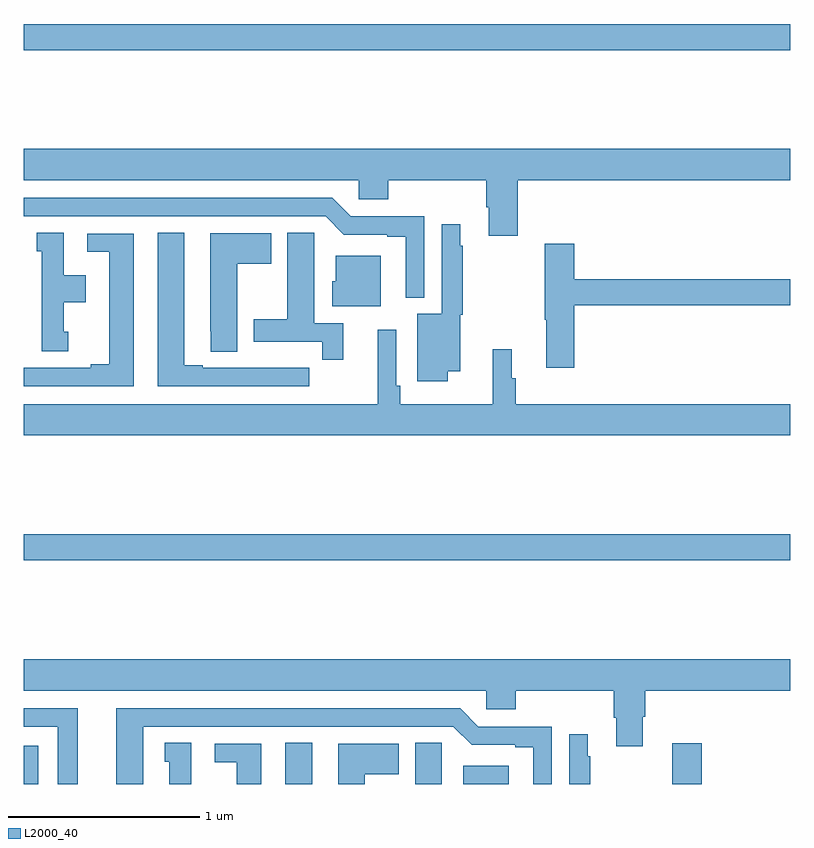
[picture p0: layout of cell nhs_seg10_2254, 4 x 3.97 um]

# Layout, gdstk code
import gdstk
lib = gdstk.Library(unit=1e-6, precision=1e-09)
def R(c, l, rs):  # rectangles x0, y0, x1, y1
    for r in rs: c.add(gdstk.rectangle(r[:2], r[2:], *l))
def P(c, l, *ps):  # polygons
    for p in ps: c.add(gdstk.Polygon(p, *l))
L2000_40 = (2000, 40)

nhs_seg10_2254 = lib.new_cell('nhs_seg10_2254')
R(nhs_seg10_2254, L2000_40, [(231,1294.5,231.076,1294.701), (232.364,1294.5,232.504,1294.715), (233.294,1294.5,233.53,1294.594), (234.385,1294.5,234.539,1294.714), (231,1295.668,235,1295.804), (231,1298.332,235,1298.468)])
P(nhs_seg10_2254, L2000_40, [(233.579,1297.652),(235,1297.652),(235,1297.816),(231,1297.816),(231,1297.652),(232.749,1297.652),(232.749,1297.554),(232.901,1297.554),(232.901,1297.652),(233.414,1297.652),(233.414,1297.51),(233.426,1297.51),(233.426,1297.362),(233.579,1297.362)],
  [(233.091,1297.464),(232.707,1297.464),(232.611,1297.56),(231,1297.56),(231,1297.464),(232.575,1297.464),(232.671,1297.368),(232.898,1297.368),(232.898,1297.356),(232.994,1297.356),(232.994,1297.04),(233.091,1297.04)],
  [(233.212,1296.656),(233.278,1296.656),(233.278,1296.951),(233.29,1296.951),(233.29,1297.31),(233.278,1297.31),(233.278,1297.423),(233.181,1297.423),(233.181,1296.955),(233.054,1296.955),(233.054,1296.603),(233.212,1296.603)],
  [(232.489,1296.672),(232.376,1296.672),(232.376,1296.673),(232.21,1296.673),(232.21,1296.672),(231.934,1296.672),(231.934,1296.687),(231.838,1296.687),(231.838,1297.379),(231.698,1297.379),(231.698,1296.576),(232.489,1296.576)],
  [(232.667,1296.906),(232.516,1296.906),(232.516,1297.268),(232.515,1297.268),(232.515,1297.379),(232.376,1297.379),(232.376,1296.927),(232.199,1296.927),(232.199,1296.81),(232.558,1296.81),(232.558,1296.714),(232.667,1296.714)],
  [(231.232,1296.861),(231.208,1296.861),(231.208,1297.016),(231.322,1297.016),(231.322,1297.156),(231.208,1297.156),(231.208,1297.379),(231.068,1297.379),(231.068,1297.281),(231.092,1297.281),(231.092,1296.759),(231.232,1296.759)],
  [(232.114,1297.216),(232.291,1297.216),(232.291,1297.375),(231.974,1297.375),(231.974,1296.865),(231.975,1296.865),(231.975,1296.757),(232.114,1296.757)],
  [(231.574,1297.374),(231.33,1297.374),(231.33,1297.278),(231.446,1297.278),(231.446,1296.692),(231.35,1296.692),(231.35,1296.672),(231,1296.672),(231,1296.576),(231.574,1296.576)],
  [(233.873,1297),(235,1297),(235,1297.136),(233.873,1297.136),(233.873,1297.321),(233.719,1297.321),(233.719,1296.923),(233.726,1296.923),(233.726,1296.672),(233.873,1296.672)],
  [(232.864,1297.258),(232.628,1297.258),(232.628,1297.125),(232.61,1297.125),(232.61,1296.995),(232.864,1296.995)],
  [(235,1296.484),(233.567,1296.484),(233.567,1296.618),(233.548,1296.618),(233.548,1296.769),(233.449,1296.769),(233.449,1296.484),(232.964,1296.484),(232.964,1296.58),(232.944,1296.58),(232.944,1296.871),(232.847,1296.871),(232.847,1296.484),(231,1296.484),(231,1296.32),(235,1296.32)],
  [(234.232,1294.851),(234.245,1294.851),(234.245,1294.988),(235,1294.988),(235,1295.152),(231,1295.152),(231,1294.988),(233.415,1294.988),(233.415,1294.89),(233.567,1294.89),(233.567,1294.988),(234.08,1294.988),(234.08,1294.846),(234.092,1294.846),(234.092,1294.698),(234.232,1294.698)],
  [(231.28,1294.896),(231,1294.896),(231,1294.8),(231.176,1294.8),(231.176,1294.5),(231.28,1294.5)],
  [(231.622,1294.8),(233.241,1294.8),(233.337,1294.704),(233.564,1294.704),(233.564,1294.692),(233.66,1294.692),(233.66,1294.5),(233.757,1294.5),(233.757,1294.8),(233.373,1294.8),(233.277,1294.896),(231.482,1294.896),(231.482,1294.5),(231.622,1294.5)],
  [(233.956,1294.646),(233.944,1294.646),(233.944,1294.759),(233.847,1294.759),(233.847,1294.5),(233.956,1294.5)],
  [(233.182,1294.604),(233.181,1294.604),(233.181,1294.715),(233.042,1294.715),(233.042,1294.5),(233.182,1294.5)],
  [(231.874,1294.715),(231.734,1294.715),(231.734,1294.617),(231.758,1294.617),(231.758,1294.5),(231.874,1294.5)],
  [(232.78,1294.552),(232.957,1294.552),(232.957,1294.711),(232.64,1294.711),(232.64,1294.5),(232.78,1294.5)],
  [(232.24,1294.71),(231.996,1294.71),(231.996,1294.614),(232.112,1294.614),(232.112,1294.5),(232.24,1294.5)])

lib.write_gds('nhs_seg10_2254.gds')
